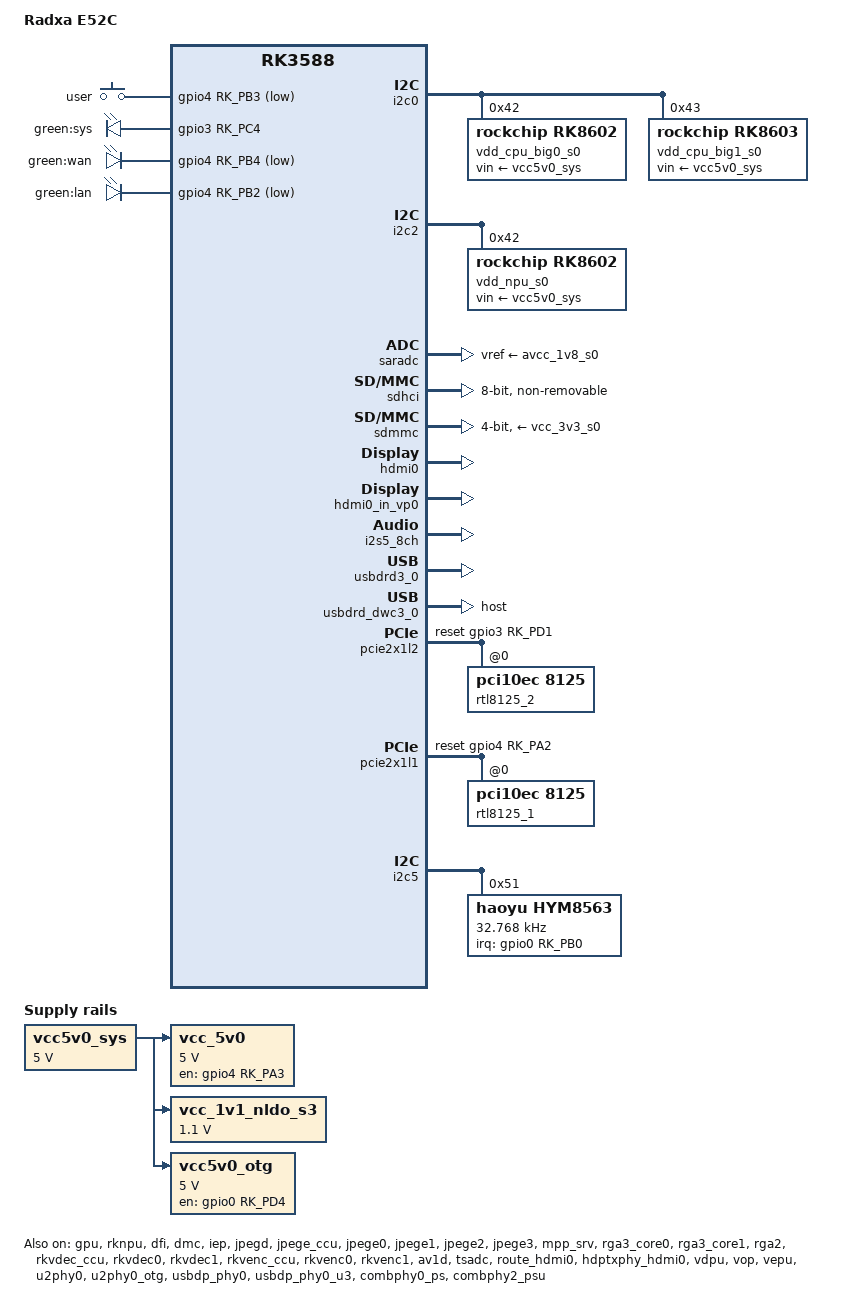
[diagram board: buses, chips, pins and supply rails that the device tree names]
// SPDX-License-Identifier: (GPL-2.0+ OR MIT)
/*
 * Copyright (c) 2022 Rockchip Electronics Co., Ltd.
 * Copyright (c) 2024 Radxa Limited
 *
 */

/dts-v1/;

#include <dt-bindings/gpio/gpio.h>
#include <dt-bindings/leds/common.h>
#include <dt-bindings/pwm/pwm.h>
#include <dt-bindings/pinctrl/rockchip.h>
#include <dt-bindings/input/rk-input.h>
#include <dt-bindings/display/drm_mipi_dsi.h>
#include <dt-bindings/display/rockchip_vop.h>
#include <dt-bindings/sensor-dev.h>
#include "rk3588s.dtsi"
#include "rk3588-rk806-single.dtsi"
#include "rk3588-linux.dtsi"

/ {
	model = "Radxa E52C";
	compatible = "radxa,e52c", "rockchip,rk3588";

	aliases {
		ethernet0 = &rtl8125_1;
		ethernet1 = &rtl8125_2;

		mmc0 = &sdmmc;
		mmc1 = &sdhci;

		led-boot = &sys_led;
		led-failsafe = &sys_led;
		led-running = &sys_led;
		led-upgrade = &sys_led;
	};

	vcc5v0_sys: vcc5v0-sys {
		compatible = "regulator-fixed";
		regulator-name = "vcc5v0_sys";
		regulator-always-on;
		regulator-boot-on;
		regulator-min-microvolt = <5000000>;
		regulator-max-microvolt = <5000000>;
	};

	vcc_5v0: vcc-5v0 {
		compatible = "regulator-fixed";
		regulator-name = "vcc_5v0";
		regulator-min-microvolt = <5000000>;
		regulator-max-microvolt = <5000000>;
		regulator-boot-on;
		regulator-always-on;
		enable-active-high;
		gpio = <&gpio4 RK_PA3 GPIO_ACTIVE_HIGH>;
		pinctrl-names = "default";
		pinctrl-0 = <&vcc_5v0_en>;
		vin-supply = <&vcc5v0_sys>;
	};

	vcc_1v1_nldo_s3: vcc-1v1-nldo-s3 {
		compatible = "regulator-fixed";
		regulator-name = "vcc_1v1_nldo_s3";
		regulator-always-on;
		regulator-boot-on;
		regulator-min-microvolt = <1100000>;
		regulator-max-microvolt = <1100000>;
		vin-supply = <&vcc5v0_sys>;
	};

	hdmi0_sound: hdmi0-sound {
		status = "okay";
		compatible = "rockchip,hdmi";
		rockchip,mclk-fs = <128>;
		rockchip,card-name = "rockchip-hdmi0";
		rockchip,cpu = <&i2s5_8ch>;
		rockchip,codec = <&hdmi0>;
		rockchip,jack-det;
	};

	vcc5v0_otg: vcc5v0-otg-regulator {
		compatible = "regulator-fixed";
		regulator-name = "vcc5v0_otg";
		regulator-min-microvolt = <5000000>;
		regulator-max-microvolt = <5000000>;
		enable-active-high;
		gpio = <&gpio0 RK_PD4 GPIO_ACTIVE_HIGH>;
		pinctrl-names = "default";
		pinctrl-0 = <&vcc5v0_otg_en>;
		vin-supply = <&vcc5v0_sys>;
	};

	gpio-keys {
		compatible = "gpio-keys";

		button@1 {
			debounce-interval = <50>;
			gpios = <&gpio4 RK_PB3 GPIO_ACTIVE_LOW>;
			label = "user";
			linux,code = <KEY_RESTART>;
		};
	};

	gpio-leds {
		compatible = "gpio-leds";

		sys_led: sys-led {
			gpios = <&gpio3 RK_PC4 GPIO_ACTIVE_HIGH>;
			label = "green:sys";
			linux,default-trigger = "heartbeat";
		};

		wan-led {
			gpios = <&gpio4 RK_PB4 GPIO_ACTIVE_LOW>;
			label = "green:wan";
			linux,default-trigger = "netdev";
		};

		lan-led {
			gpios = <&gpio4 RK_PB2 GPIO_ACTIVE_LOW>;
			label = "green:lan";
			linux,default-trigger = "netdev";
		};
	};
};

&i2c0 {
	status = "okay";
	pinctrl-names = "default";
	pinctrl-0 = <&i2c0m2_xfer>;

	vdd_cpu_big0_s0: vdd_cpu_big0_mem_s0: rk8602@42 {
		compatible = "rockchip,rk8602";
		reg = <0x42>;
		vin-supply = <&vcc5v0_sys>;
		regulator-compatible = "rk860x-reg";
		regulator-name = "vdd_cpu_big0_s0";
		regulator-min-microvolt = <550000>;
		regulator-max-microvolt = <1050000>;
		regulator-ramp-delay = <2300>;
		rockchip,suspend-voltage-selector = <1>;
		regulator-boot-on;
		regulator-always-on;
		regulator-state-mem {
			regulator-off-in-suspend;
		};
	};

	vdd_cpu_big1_s0: vdd_cpu_big1_mem_s0: rk8603@43 {
		compatible = "rockchip,rk8603";
		reg = <0x43>;
		vin-supply = <&vcc5v0_sys>;
		regulator-compatible = "rk860x-reg";
		regulator-name = "vdd_cpu_big1_s0";
		regulator-min-microvolt = <550000>;
		regulator-max-microvolt = <1050000>;
		regulator-ramp-delay = <2300>;
		rockchip,suspend-voltage-selector = <1>;
		regulator-boot-on;
		regulator-always-on;
		regulator-state-mem {
			regulator-off-in-suspend;
		};
	};
};

&i2c2 {
	status = "okay";
	pinctrl-names = "default";
	pinctrl-0 = <&i2c2m0_xfer>;

	vdd_npu_s0: vdd_npu_mem_s0: rk8602@42 {
		compatible = "rockchip,rk8602";
		reg = <0x42>;
		vin-supply = <&vcc5v0_sys>;
		regulator-compatible = "rk860x-reg";
		regulator-name = "vdd_npu_s0";
		regulator-min-microvolt = <550000>;
		regulator-max-microvolt = <950000>;
		regulator-ramp-delay = <2300>;
		rockchip,suspend-voltage-selector = <1>;
		regulator-boot-on;
		regulator-always-on;
		regulator-state-mem {
			regulator-off-in-suspend;
		};
	};
};

/* CPU */

&cpu_l0 {
	cpu-supply = <&vdd_cpu_lit_s0>;
	mem-supply = <&vdd_cpu_lit_mem_s0>;
};

&cpu_b0 {
	cpu-supply = <&vdd_cpu_big0_s0>;
	mem-supply = <&vdd_cpu_big0_mem_s0>;
};

&cpu_b2 {
	cpu-supply = <&vdd_cpu_big1_s0>;
	mem-supply = <&vdd_cpu_big1_mem_s0>;
};

/* GPU */

&gpu {
	mali-supply = <&vdd_gpu_s0>;
	mem-supply = <&vdd_gpu_mem_s0>;
	status = "okay";
};

/* NPU */

&rknpu {
	rknpu-supply = <&vdd_npu_s0>;
	mem-supply = <&vdd_npu_mem_s0>;
	status = "okay";
};

&dfi {
	status = "okay";
};

&dmc {
	status = "okay";
	center-supply = <&vdd_ddr_s0>;
	mem-supply = <&vdd_log_s0>;
};

&rknpu_mmu {
	status = "okay";
};

&iep {
	status = "okay";
};

&iep_mmu {
	status = "okay";
};

&jpegd {
	status = "okay";
};

&jpegd_mmu {
	status = "okay";
};

&jpege_ccu {
	status = "okay";
};

&jpege0 {
	status = "okay";
};

&jpege0_mmu {
	status = "okay";
};

&jpege1 {
	status = "okay";
};

&jpege1_mmu {
	status = "okay";
};

&jpege2 {
	status = "okay";
};

&jpege2_mmu {
	status = "okay";
};

&jpege3 {
	status = "okay";
};

&jpege3_mmu {
	status = "okay";
};

&mpp_srv {
	status = "okay";
};

&rga3_core0 {
	status = "okay";
};

&rga3_0_mmu {
	status = "okay";
};

&rga3_core1 {
	status = "okay";
};

&rga3_1_mmu {
	status = "okay";
};

&rga2 {
	status = "okay";
};

&rkvdec_ccu {
	status = "okay";
};

&rkvdec0 {
	status = "okay";
};

&rkvdec0_mmu {
	status = "okay";
};

&rkvdec1 {
	status = "okay";
};

&rkvdec1_mmu {
	status = "okay";
};

&rkvenc_ccu {
	status = "okay";
};

&rkvenc0 {
	status = "okay";
};

&rkvenc0_mmu {
	status = "okay";
};

&rkvenc1 {
	status = "okay";
};

&rkvenc1_mmu {
	status = "okay";
};

&av1d {
	status = "okay";
};

&av1d_mmu {
	status = "okay";
};

&saradc {
	status = "okay";
	vref-supply = <&avcc_1v8_s0>;
};

/* Storage */
/* eMMC */

&sdhci {
	bus-width = <8>;
	no-sdio;
	no-sd;
	non-removable;
	max-frequency = <200000000>;
	mmc-hs200-1_8v;
	mmc-hs400-1_8v;
	mmc-hs400-enhanced-strobe;
	status = "okay";
};

/* SD */

&sdmmc {
	max-frequency = <200000000>;
	no-sdio;
	no-mmc;
	bus-width = <4>;
	cap-mmc-highspeed;
	cap-sd-highspeed;
	disable-wp;
	sd-uhs-sdr104;
	vmmc-supply = <&vcc_3v3_s0>;
	vqmmc-supply = <&vccio_sd_s0>;
	pinctrl-names = "default";
	pinctrl-0 = <&sdmmc_bus4 &sdmmc_clk &sdmmc_cmd &sdmmc_det>;
	status = "okay";
};

/* ADC */

&tsadc {
	status = "okay";
};

/* HDMI */

&hdmi0 {
	status = "okay";
	cec-enable = "true";
	enable-gpios = <&gpio4 RK_PB6 GPIO_ACTIVE_HIGH>;
	pinctrl-names = "default";
	pinctrl-0 = <&hdmim0_tx0_cec &hdmim1_tx0_hpd &hdmim0_tx0_scl &hdmim0_tx0_sda>;
};

&hdmi0_in_vp0 {
	status = "okay";
};

&route_hdmi0 {
	status = "okay";
};

&hdptxphy_hdmi0 {
	status = "okay";
};

&i2s5_8ch {
	status = "okay";
};

&vdpu {
	status = "okay";
};

&vdpu_mmu {
	status = "okay";
};

/* Video Ports */

&vop {
	status = "okay";
};

&vop_mmu {
	status = "okay";
};

&vepu {
	status = "okay";
};

/* vp0 & vp1 splice for 8K output */
&vp0 {
	rockchip,plane-mask = <(1 << ROCKCHIP_VOP2_CLUSTER0 | 1 << ROCKCHIP_VOP2_ESMART0)>;
	rockchip,primary-plane = <ROCKCHIP_VOP2_CLUSTER0>;
	cursor-win-id = <ROCKCHIP_VOP2_ESMART0>;
};

&vp1 {
	rockchip,plane-mask = <(1 << ROCKCHIP_VOP2_CLUSTER1 | 1 << ROCKCHIP_VOP2_ESMART1)>;
	rockchip,primary-plane = <ROCKCHIP_VOP2_CLUSTER1>;
	cursor-win-id = <ROCKCHIP_VOP2_ESMART1>;
};

&vp2 {
	rockchip,plane-mask = <(1 << ROCKCHIP_VOP2_CLUSTER2 | 1 << ROCKCHIP_VOP2_ESMART2)>;
	rockchip,primary-plane = <ROCKCHIP_VOP2_CLUSTER2>;
	cursor-win-id = <ROCKCHIP_VOP2_ESMART2>;
};

&vp3 {
	rockchip,plane-mask = <(1 << ROCKCHIP_VOP2_CLUSTER3 | 1 << ROCKCHIP_VOP2_ESMART3)>;
	rockchip,primary-plane = <ROCKCHIP_VOP2_CLUSTER3>;
	cursor-win-id = <ROCKCHIP_VOP2_ESMART3>;
};

&display_subsystem {
	clocks = <&hdptxphy_hdmi_clk0>;
	clock-names = "hdmi0_phy_pll";
};

&hdptxphy_hdmi_clk0 {
	status = "okay";
};

/* USB */

&u2phy0 {
	status = "okay";
};

&u2phy0_otg {
	status = "okay";
	vbus-supply = <&vcc5v0_otg>;
};

&usbdrd3_0 {
	status = "okay";
};

&usbdrd_dwc3_0 {
	dr_mode = "host";
	status = "okay";
};

&usbdp_phy0 {
	status = "okay";
};

&usbdp_phy0_u3 {
	status = "okay";
};

/* PCIe */
#define ETH_LED_SPEED_INDICATOR

&combphy0_ps {
	status = "okay";
};

&pcie2x1l2 { // pcie@fe190000
	status = "okay";
	reset-gpios = <&gpio3 RK_PD1 GPIO_ACTIVE_HIGH>;
	pcie@40 {
		reg = <0x00400000 0 0 0 0>;
		#address-cells = <3>;
		#size-cells = <2>;

		rtl8125_2: pcie-eth@40,0 {
			compatible = "pci10ec,8125";
			reg = <0x000000 0 0 0 0>;

			// LED0 => G+ , LED1 => G- , LED2 => Y-
#ifndef ETH_LED_SPEED_INDICATOR
			// Option 1
			// LED0=High active, blink on every speed act
			// LED1=Low active, always on every speed link
			// LED2=LED1
			realtek,led-data = <0x1200 0x2b 0x2b 0>;
#else
			// Option 2
			// LED0=High active, blink on all act, always on 10/100/2500 link
			// LED1=Low active, always on every speed link
			// LED2=Low active, always on 1000/2500
			realtek,led-data = <0x1223 0x2b 0x28 0>;
			realtek,led-feature = /bits/ 8 <0xc1>;
#endif
		};
	};
};

&combphy2_psu {
	status = "okay";
};

&pcie2x1l1 { // pcie@fe180000
	status = "okay";
	reset-gpios = <&gpio4 RK_PA2 GPIO_ACTIVE_HIGH>;
	pcie@30 {
		reg = <0x00300000 0 0 0 0>;
		#address-cells = <3>;
		#size-cells = <2>;

		rtl8125_1: pcie-eth@30,0 {
			compatible = "pci10ec,8125";
			reg = <0x000000 0 0 0 0>;
			// LED0 => G+ , LED1 => G- , LED2 => Y-
#ifndef ETH_LED_SPEED_INDICATOR
			// Option 1
			// LED0=High active, blink on every speed act
			// LED1=Low active, always on every speed link
			// LED2=LED1
			realtek,led-data = <0x1200 0x2b 0x2b 0>;
#else
			// Option 2
			// LED0=High active, blink on all act, always on 10/100/2500 link
			// LED1=Low active, always on every speed link
			// LED2=Low active, always on 1000/2500
			realtek,led-data = <0x1223 0x2b 0x28 0>;
			realtek,led-feature = /bits/ 8 <0xc1>;
#endif
		};
	};
};

&rockchip_suspend {
	compatible = "rockchip,pm-rk3588";
	status = "okay";
	rockchip,sleep-debug-en = <1>;
	rockchip,sleep-mode-config = <
		(0
		| RKPM_SLP_ARMOFF_DDRPD
		)
	>;
	rockchip,wakeup-config = <
		(0
		| RKPM_GPIO_WKUP_EN
		| RKPM_USB_WKUP_EN
		)
	>;
};

&avdd_0v75_s0 {
	regulator-state-mem {
		regulator-on-in-suspend;
		regulator-suspend-microvolt = <837500>;
	};
};

&avcc_1v8_s0 {
	regulator-state-mem {
		regulator-on-in-suspend;
		regulator-suspend-microvolt = <1800000>;
	};
};

&vcc_1v8_s0 {
	regulator-state-mem {
		regulator-on-in-suspend;
		regulator-suspend-microvolt = <1800000>;
	};
};

&vcc_3v3_s0 {
	regulator-state-mem {
		regulator-on-in-suspend;
		regulator-suspend-microvolt = <3300000>;
	};
};

&vdd_log_s0 {
	regulator-state-mem {
		regulator-on-in-suspend;
		regulator-suspend-microvolt = <750000>;
	};
};

&vdd_ddr_pll_s0 {
	regulator-state-mem {
		regulator-on-in-suspend;
		regulator-suspend-microvolt = <850000>;
	};
};

&i2c5 {
	status = "okay";
	pinctrl-0 = <&i2c5m2_xfer>;
	#address-cells = <1>;
	#size-cells = <0>;

	hym8563: hym8563@51 {
		compatible = "haoyu,hym8563";
		reg = <0x51>;
		#clock-cells = <0>;
		clock-frequency = <32768>;
		clock-output-names = "hym8563";
		pinctrl-names = "default";
		pinctrl-0 = <&hym8563_int>;
		interrupt-parent = <&gpio0>;
		interrupts = <RK_PB0 IRQ_TYPE_LEVEL_LOW>;
		wakeup-source;
	};
};

&pinctrl {
	power {
		vcc_5v0_en: vcc-5v0-en {
			rockchip,pins = <4 RK_PA3 RK_FUNC_GPIO &pcfg_pull_none>;
		};
	};

	usb {
		vcc5v0_otg_en: vcc5v0-otg-en {
			rockchip,pins = <0 RK_PD4 RK_FUNC_GPIO &pcfg_pull_none>;
		};
	};

	hym8563 {
		hym8563_int: hym8563-int {
			rockchip,pins = <0 RK_PB0 RK_FUNC_GPIO &pcfg_pull_none>;
		};
	};
};
